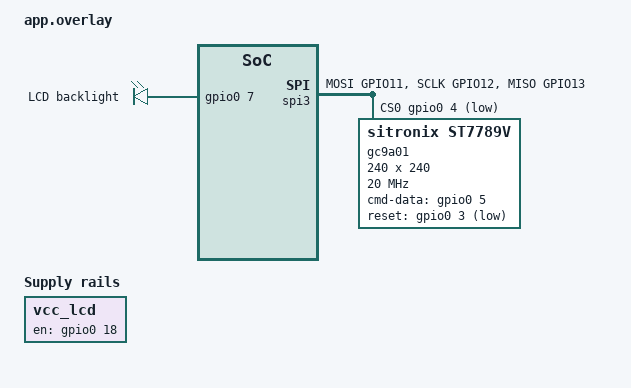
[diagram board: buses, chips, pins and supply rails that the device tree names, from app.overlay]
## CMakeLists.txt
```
cmake_minimum_required(VERSION 3.20.0)

set(BOARD esp32s3_devkitm CACHE STRING "Default Zephyr board")
set(DTS_ROOT ${CMAKE_CURRENT_SOURCE_DIR})

find_package(Zephyr REQUIRED HINTS $ENV{ZEPHYR_BASE})
project(hacktor_stb_watch)

target_sources(app PRIVATE
    src/main.c
    src/display.c
    src/transit_ui.c
    src/ble.c
)
```

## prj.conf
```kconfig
CONFIG_CONSOLE=y
CONFIG_UART_CONSOLE=y
CONFIG_SERIAL=y
CONFIG_SERIAL_ESP32_USB=y
CONFIG_PRINTK=y
CONFIG_SHELL=y
CONFIG_SHELL_BACKEND_SERIAL=y

CONFIG_GPIO=y
CONFIG_SPI=y
CONFIG_I2C=y

CONFIG_DISPLAY=y
CONFIG_LVGL=y
CONFIG_LV_Z_MEM_POOL_SIZE=49152
CONFIG_LV_USE_LABEL=y
CONFIG_LV_FONT_MONTSERRAT_14=y
CONFIG_LV_FONT_MONTSERRAT_28=y

CONFIG_BT=y
CONFIG_BT_PERIPHERAL=y
CONFIG_BT_DEVICE_NAME="Hacktor_Watch"

CONFIG_LOG=y
CONFIG_MAIN_STACK_SIZE=4096
```

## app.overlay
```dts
#include <zephyr/dt-bindings/display/panel.h>
#include <zephyr/dt-bindings/gpio/gpio.h>
#include <zephyr/dt-bindings/i2c/i2c.h>
#include <zephyr/dt-bindings/pinctrl/esp-pinctrl-common.h>
#include <zephyr/dt-bindings/pinctrl/esp32s3-gpio-sigmap.h>
#include <dt-bindings/pinctrl/esp32s3-pinctrl.h>

/ {
	chosen {
		zephyr,console = &usb_serial;
		zephyr,shell-uart = &usb_serial;
		zephyr,display = &gc9a01;
	};

	vcc_lcd: vcc_lcd {
        compatible = "regulator-fixed";
        regulator-name = "vcc_lcd";
        enable-gpios = <&gpio0 18 GPIO_ACTIVE_HIGH>;
        regulator-boot-on;
    };

	leds {
		compatible = "gpio-leds";
		lcd_backlight: lcd_backlight {
			gpios = <&gpio0 7 GPIO_ACTIVE_HIGH>;
			label = "LCD backlight";
		};
	};
};

&pinctrl {
	spim3_lcd_default: spim3_lcd_default {
		group1 {
			pinmux = <SPIM3_MOSI_GPIO11>,
				 <SPIM3_SCLK_GPIO12>,
				 <SPIM3_MISO_GPIO13>;
		};
	};
};

&spi3 {
	status = "okay";
	pinctrl-0 = <&spim3_lcd_default>;
	pinctrl-names = "default";
	cs-gpios = <&gpio0 4 GPIO_ACTIVE_LOW>;

	gc9a01: gc9a01@0 {
		compatible = "sitronix,st7789v";
		reg = <0>;
		spi-max-frequency = <20000000>;
		cmd-data-gpios = <&gpio0 5 GPIO_ACTIVE_HIGH>;
		reset-gpios = <&gpio0 3 GPIO_ACTIVE_LOW>;
		width = <240>;
		height = <240>;
		x-offset = <0>;
		y-offset = <0>;
		vcom = <0x19>;
		gctrl = <0x35>;
		vrhs = <0x12>;
		vdvs = <0x20>;
		mdac = <0x08>;
		gamma = <0x01>;
		colmod = <0x05>;
		lcm = <0x2c>;
		porch-param = [0c 0c 00 33 33];
		cmd2en-param = [5a 69 02 01];
		pwctrl1-param = [a4 a1];
		pvgam-param = [D0 04 0D 11 13 2B 3F 54 4C 18 0D 0B 1F 23];
		nvgam-param = [D0 04 0C 11 13 2C 3F 44 51 2F 1F 1F 20 23];
		ram-param = [00 F0];
		rgb-param = [CD 08 14];
	};
};
```

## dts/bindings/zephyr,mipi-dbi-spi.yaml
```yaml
description: MIPI DBI SPI interface
compatible: "zephyr,mipi-dbi-spi"
properties:
  spi-dev:
    type: phandle
    required: true
  dc-gpios:
    type: phandle-array
    required: true
  reset-gpios:
    type: phandle-array
    required: false
  write-only:
    type: boolean
  "#address-cells":
    type: int
    required: true
  "#size-cells":
    type: int
    required: true
```

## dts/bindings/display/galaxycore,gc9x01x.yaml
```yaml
description: GalaxyCore GC9X01X display controller
compatible: "galaxycore,gc9x01x"
include: [spi-device.yaml, display-controller.yaml]
properties:
  mipi-mode:
    type: string
    required: true
  mipi-max-frequency:
    type: int
    required: true
  pixel-format:
    type: int
    required: true
  display-inversion:
    type: boolean
  width:
    type: int
    required: true
  height:
    type: int
    required: true
```

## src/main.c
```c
#include <zephyr/kernel.h>
#include <zephyr/sys/printk.h>
#include <lvgl.h>
#include <lvgl_zephyr.h>

#include "display.h"
#include "ble.h"
#include "transit_ui.h"

int main(void)
{
    printk("Hacktor_Watch Starting...\n");

    /* Initialize Subsystems */
    if (display_init() < 0) {
        printk("Display init failed\n");
        return -1;
    }

    ble_init();

    /* Setup UI */
    lvgl_lock();
    transit_ui_create();
    lv_timer_handler();
    lvgl_unlock();

    struct transit_data incoming_data;

    while (1) {
        if (ble_get_transit_update(&incoming_data)) {
            lvgl_lock();
            transit_ui_update(&incoming_data);
            lvgl_unlock();
        }

        lvgl_lock();
        uint32_t sleep_ms = lv_timer_handler();
        lvgl_unlock();

        if (sleep_ms < 10) sleep_ms = 10;
        k_sleep(K_MSEC(sleep_ms));
    }
}
```

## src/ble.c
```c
#include "ble.h"
#include <stdio.h>
#include <string.h>
#include <zephyr/bluetooth/bluetooth.h>
#include <zephyr/bluetooth/conn.h>
#include <zephyr/bluetooth/gatt.h>
#include <zephyr/bluetooth/uuid.h>
#include <zephyr/kernel.h>
#include <zephyr/sys/printk.h>

#define BT_UUID_STB_SVC \
    BT_UUID_DECLARE_128(BT_UUID_128_ENCODE(0x12345678, 0x1234, 0x5678, 0x1234, 0x56789abcdef0))

#define BT_UUID_TRANSIT_CHAR \
    BT_UUID_DECLARE_128(BT_UUID_128_ENCODE(0x12345678, 0x1234, 0x5678, 0x1234, 0x56789abcdef3))

static struct transit_data current_transit;
static bool transit_updated = false;
static K_MUTEX_DEFINE(transit_mutex);

static ssize_t transit_write_cb(struct bt_conn *conn, const struct bt_gatt_attr *attr,
                                const void *buf, uint16_t len, uint16_t offset, uint8_t flags)
{
    char str[64];
    if (len >= sizeof(str)) {
        len = sizeof(str) - 1;
    }
    memcpy(str, buf, len);
    str[len] = '\0';

    char route[16] = {0};
    char dir[32] = {0};
    int mins = 0;

    if (sscanf(str, "%15[^,],%31[^,],%d", route, dir, &mins) == 3) {
        k_mutex_lock(&transit_mutex, K_FOREVER);
        strncpy(current_transit.route, route, sizeof(current_transit.route));
        strncpy(current_transit.direction, dir, sizeof(current_transit.direction));
        current_transit.minutes = mins;
        current_transit.valid = true;
        transit_updated = true;
        k_mutex_unlock(&transit_mutex);

        printk("STB Update: %s towards %s in %d min\n", route, dir, mins);
    } else {
        printk("Failed to parse STB payload: %s\n", str);
    }
    return len;
}

BT_GATT_SERVICE_DEFINE(stb_svc,
    BT_GATT_PRIMARY_SERVICE(BT_UUID_STB_SVC),
    BT_GATT_CHARACTERISTIC(BT_UUID_TRANSIT_CHAR,
                           BT_GATT_CHRC_WRITE | BT_GATT_CHRC_WRITE_WITHOUT_RESP,
                           BT_GATT_PERM_WRITE, NULL, transit_write_cb, NULL),
);

static const struct bt_data ad[] = {
    BT_DATA_BYTES(BT_DATA_FLAGS, (BT_LE_AD_GENERAL | BT_LE_AD_NO_BREDR)),
    BT_DATA_BYTES(BT_DATA_UUID128_ALL, BT_UUID_128_ENCODE(0x12345678, 0x1234, 0x5678, 0x1234, 0x56789abcdef0)),
};

static const struct bt_data sd[] = {
    BT_DATA(BT_DATA_NAME_COMPLETE, "Hacktor_Watch", 11),
};

int ble_init(void)
{
    int err = bt_enable(NULL);
    if (err) return err;

    err = bt_le_adv_start(BT_LE_ADV_CONN_FAST_1, ad, ARRAY_SIZE(ad), sd, ARRAY_SIZE(sd));
    if (err) return err;

    printk("BLE ready\n");
    return 0;
}

bool ble_get_transit_update(struct transit_data *data)
{
    bool updated = false;
    k_mutex_lock(&transit_mutex, K_FOREVER);
    if (transit_updated) {
        *data = current_transit;
        transit_updated = false;
        updated = true;
    }
    k_mutex_unlock(&transit_mutex);
    return updated;
}
```

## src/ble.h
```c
#ifndef BLE_H
#define BLE_H

#include <stdbool.h>

struct transit_data {
    char route[16];
    char direction[32];
    int minutes;
    bool valid;
};

int ble_init(void);

bool ble_get_transit_update(struct transit_data *data);

#endif
```

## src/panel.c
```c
#include "panel.h"

#include <zephyr/device.h>
#include <zephyr/drivers/display.h>
#include <zephyr/drivers/gpio.h>
#include <zephyr/kernel.h>
#include <zephyr/shell/shell.h>
#include <zephyr/sys/printk.h>
#include <lvgl.h>

/* lvgl_lock/unlock are not available in this Zephyr version. */
#define lvgl_lock()
#define lvgl_unlock()

#define DISPLAY_NODE DT_CHOSEN(zephyr_display)
#define BACKLIGHT_NODE DT_NODELABEL(lcd_backlight)
#define DISPLAY_WIDTH DT_PROP(DISPLAY_NODE, width)
#define DISPLAY_HEIGHT DT_PROP(DISPLAY_NODE, height)

static const struct gpio_dt_spec lcd_backlight = GPIO_DT_SPEC_GET(BACKLIGHT_NODE, gpios);

static struct display_capabilities display_cap = {
    .x_resolution = DISPLAY_WIDTH,
    .y_resolution = DISPLAY_HEIGHT,
    .current_orientation = DISPLAY_ORIENTATION_NORMAL,
};

static lv_obj_t *status_label;

static int cmd_app_status(const struct shell *sh, size_t argc, char **argv)
{
    ARG_UNUSED(argc);
    ARG_UNUSED(argv);

    shell_print(sh, "display: %ux%u orientation=%u",
            display_cap.x_resolution,
            display_cap.y_resolution,
            display_cap.current_orientation);

    return 0;
}
SHELL_CMD_REGISTER(app, NULL, "Show current app status", cmd_app_status);

static int init_display(const struct device **display_dev)
{
    const struct device *display = DEVICE_DT_GET(DISPLAY_NODE);
    int ret;

    if (!gpio_is_ready_dt(&lcd_backlight)) {
        printk("LCD backlight GPIO is not ready\n");
        return -ENODEV;
    }

    ret = gpio_pin_configure_dt(&lcd_backlight, GPIO_OUTPUT_ACTIVE);
    if (ret < 0) {
        printk("Backlight GPIO setup failed: %d\n", ret);
        return ret;
    }

    if (!device_is_ready(display)) {
        printk("Display device is not ready\n");
        return -ENODEV;
    }

    display_get_capabilities(display, &display_cap);

    /* Turn off display blanking so the UI is visible */
    display_blanking_off(display);

    *display_dev = display;
    return 0;
}

static int init_ui(void)
{
    lv_obj_t *screen;
    lv_obj_t *hello_label;

    screen = lv_scr_act();
    lv_obj_set_style_bg_color(screen, lv_color_hex(0x000000), 0);
    lv_obj_set_style_bg_opa(screen, LV_OPA_COVER, 0);

    hello_label = lv_label_create(screen);
    lv_label_set_text(hello_label, "Hello!");
    lv_obj_set_style_text_color(hello_label, lv_color_hex(0xFFFFFF), 0);
    lv_obj_set_style_text_font(hello_label, &lv_font_montserrat_42, 0);
    lv_obj_align(hello_label, LV_ALIGN_CENTER, 0, 0);

    status_label = lv_label_create(screen);
    lv_label_set_text(status_label, "Hacktor Watch");
    lv_obj_set_style_text_color(status_label, lv_color_hex(0x8CFFB5), 0);
    lv_obj_set_style_text_font(status_label, &lv_font_montserrat_14, 0);
    lv_obj_align(status_label, LV_ALIGN_BOTTOM_MID, 0, -14);

    return 0;
}

int panel_run(void)
{
    const struct device *display;
    uint32_t sleep_ms;
    int ret;

    ret = init_display(&display);
    if (ret < 0) {
        return 0;
    }

    lvgl_lock();
    ret = init_ui();
    if (ret == 0) {
        lv_timer_handler();
    }
    lvgl_unlock();

    if (ret < 0) {
        return 0;
    }

    while (1) {
        lvgl_lock();
        sleep_ms = lv_timer_handler();
        lvgl_unlock();

        if (sleep_ms == LV_NO_TIMER_READY || sleep_ms > 100U) {
            sleep_ms = 100U;
        }
        if (sleep_ms < 10U) {
            sleep_ms = 10U;
        }

        k_sleep(K_MSEC(sleep_ms));
    }
}
```

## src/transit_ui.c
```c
#include "transit_ui.h"
#include <stdio.h>
#include <lvgl.h>

#define COL_BG       0x000000
#define COL_ACCENT   0x00FF00
#define COL_TEXT     0xFFFFFF

static lv_obj_t *route_label;
static lv_obj_t *dir_label;
static lv_obj_t *time_label;
static lv_obj_t *status_label;

void transit_ui_create(void)
{
    lv_obj_t *screen = lv_screen_active();
    lv_obj_set_style_bg_color(screen, lv_color_hex(COL_BG), 0);
    lv_obj_set_style_bg_opa(screen, LV_OPA_COVER, 0);

    /* Bus Line Number */
    route_label = lv_label_create(screen);
    lv_obj_set_style_text_color(route_label, lv_color_hex(COL_ACCENT), 0);
    lv_obj_set_style_text_font(route_label, &lv_font_montserrat_28, 0);
    lv_obj_align(route_label, LV_ALIGN_CENTER, 0, -40);
    lv_label_set_text(route_label, "--");

    /* Destination/Direction */
    dir_label = lv_label_create(screen);
    lv_obj_set_style_text_color(dir_label, lv_color_hex(COL_TEXT), 0);
    lv_obj_set_style_text_font(dir_label, &lv_font_montserrat_14, 0);
    lv_obj_align(dir_label, LV_ALIGN_CENTER, 0, -10);
    lv_label_set_text(dir_label, "Waiting for STB Data...");

    /* Minutes until arrival */
    time_label = lv_label_create(screen);
    lv_obj_set_style_text_color(time_label, lv_color_hex(COL_TEXT), 0);
    lv_obj_set_style_text_font(time_label, &lv_font_montserrat_28, 0);
    lv_obj_align(time_label, LV_ALIGN_CENTER, 0, 30);
    lv_label_set_text(time_label, "");

    /* Connection Status */
    status_label = lv_label_create(screen);
    lv_obj_set_style_text_color(status_label, lv_color_hex(0x888888), 0);
    lv_obj_set_style_text_font(status_label, &lv_font_montserrat_14, 0);
    lv_obj_align(status_label, LV_ALIGN_BOTTOM_MID, 0, -20);
    lv_label_set_text(status_label, "BLE Disconnected");
}

void transit_ui_update(const struct transit_data *data)
{
    if (!data->valid) return;

    char buf[32];

    lv_label_set_text(route_label, data->route);
    lv_label_set_text(dir_label, data->direction);

    if (data->minutes == 0) {
        lv_label_set_text(time_label, "Arriving Now!");
    } else {
        snprintf(buf, sizeof(buf), "%d min", data->minutes);
        lv_label_set_text(time_label, buf);
    }

    lv_label_set_text(status_label, "Sync Active");
}
```

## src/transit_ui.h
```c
#ifndef TRANSIT_UI_H
#define TRANSIT_UI_H

#include "ble.h"

void transit_ui_create(void);

void transit_ui_update(const struct transit_data *data);

#endif
```
